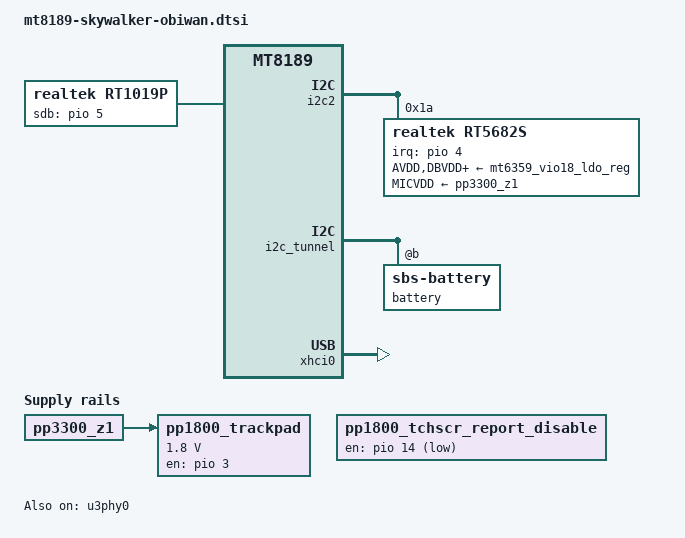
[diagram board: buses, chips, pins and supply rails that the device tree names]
// SPDX-License-Identifier: (GPL-2.0 OR MIT)
/*
 * Copyright (C) 2025 Google Inc.
 */
/dts-v1/;
#include "mt8189-skywalker.dtsi"

/ {
	pp1800_trackpad: regulator-pp1800-trackpad {
		compatible = "regulator-fixed";
		regulator-name = "pp1800_trackpad";
		regulator-min-microvolt = <1800000>;
		regulator-max-microvolt = <1800000>;
		enable-active-high;
		gpio = <&pio 3 GPIO_ACTIVE_HIGH>;
		pinctrl-names = "default";
		pinctrl-0 = <&trackpad_pwr_pins>;
		vin-supply = <&pp3300_z1>;
	};

	pp1800_tchscr_report_disable: regulator-pp1800-tchscr-report-disable {
		compatible = "regulator-fixed";
		regulator-name = "pp1800_tchscr_report_disable";
		pinctrl-names = "default";
		regulator-boot-on;
		pinctrl-0 = <&touch_pin_report>;
		gpio = <&pio 14 GPIO_ACTIVE_LOW>;
	};

	rt1019p: audio-codec {
		compatible = "realtek,rt1019p";
		label = "rt1019p";
		#sound-dai-cells = <0>;
		pinctrl-names = "default";
		pinctrl-0 = <&audio_spk_en_pins>;
		sdb-gpios = <&pio 5 GPIO_ACTIVE_HIGH>;
	};
};

&ap_i2c_tchpad  {
	/delete-node/ trackpad@15;

	trackpad_elan: trackpad@15 {
		compatible = "elan,ekth3000";
		reg = <0x15>;
		interrupts-extended = <&pio 125 IRQ_TYPE_LEVEL_LOW>;
		pinctrl-names = "default";
		pinctrl-0 = <&trackpad_pins>;
		wakeup-source;
		vcc-supply = <&pp1800_trackpad>;
		status = "fail-needs-probe";
	};

	trackpad_goodix: trackpad@2c {
		compatible = "hid-over-i2c";
		reg = <0x2c>;
		interrupts-extended = <&pio 125 IRQ_TYPE_LEVEL_LOW>;
		pinctrl-names = "default";
		pinctrl-0 = <&trackpad_pins>;
		wakeup-source;
		post-power-on-delay-ms = <10>;
		hid-descr-addr = <0x0020>;
		vdd-supply = <&pp3300_s3>;

		vddl-supply = <&pp1800_trackpad>;
		status = "fail-needs-probe";
	};

	trackpad_focal: trackpad@38 {
		compatible = "hid-over-i2c";
		reg = <0x38>;
		interrupts-extended = <&pio 125 IRQ_TYPE_LEVEL_LOW>;
		pinctrl-names = "default";
		pinctrl-0 = <&trackpad_pins>;
		wakeup-source;
		post-power-on-delay-ms = <40>;
		hid-descr-addr = <0x0020>;
		vdd-supply = <&pp3300_s3>;
		vddl-supply = <&pp1800_trackpad>;
		status = "fail-needs-probe";
	};
};

&ap_i2c_tchscr {

	touchscreen@41 {
		status = "disabled";
	};

	elantouchscreen: touchscreen@10 {
		compatible = "elan,ekth6a12nay";
		reg = <0x10>;

		interrupts-extended = <&pio 15 IRQ_TYPE_LEVEL_LOW>;

		pinctrl-names = "default";
		pinctrl-0 = <&touchscreen_pins>;
		reset-gpios = <&pio 126 GPIO_ACTIVE_LOW>;
		vcc33-supply = <&pp3300_tchscr_x>;
		vccio-supply = <&pp1800_tchscr_report_disable>;
		status = "fail-needs-probe";
	};

	touchscreen: touchscreen@24 {
		compatible = "parade,tc3408";
		reg = <0x24>;

		interrupts-extended = <&pio 15 IRQ_TYPE_LEVEL_LOW>;

		pinctrl-names = "default";
		pinctrl-0 = <&touchscreen_pins>;
		reset-gpios = <&pio 126 GPIO_ACTIVE_LOW>;
		vcc33-supply = <&pp3300_tchscr_x>;
		vccio-supply = <&pp1800_tchscr_report_disable>;
		status = "fail-needs-probe";
	};
};

&ap_sar_sensor {
	semtech,ph0-pin = <3 1 3>;
	semtech,ph1-pin = <3 3 3>;
	semtech,ph2-pin = <1 3 3>;
	semtech,ph3-pin = <3 3 3>;
	semtech,ph01-resolution = <1024>;
	semtech,ph23-resolution = <1024>;
	semtech,input-analog-gain = <3>;
	semtech,cs-idle-sleep = "gnd";
};

&backlight {
	post-pwm-on-delay-ms = <1>;
};

&dp_tx {
	phy-by-link-rate;
	phy-params = <0x221a1612 0x2425201a 0x00003028 0x0e080400 0x020b0600 0x00000008>;
	phy-params-hbr2 = <0x20181410 0x22241e18 0x00003028 0x10080400 0x020c0600 0x00000008>;
};

&edp_tx {
	swing-level = <3>;
};

&i2c2 {
	/delete-node/ audio-codec@1a;

	rt5682s: audio-codec@1a {
		compatible = "realtek,rt5682s";
		reg = <0x1a>;
		interrupts-extended = <&pio 4 IRQ_TYPE_EDGE_BOTH>;
		pinctrl-names = "default";
		pinctrl-0 = <&audio_codec_pins>;
		#sound-dai-cells = <0>;

		AVDD-supply = <&mt6359_vio18_ldo_reg>;
		DBVDD-supply = <&mt6359_vio18_ldo_reg>;
		LDO1-IN-supply = <&mt6359_vio18_ldo_reg>;
		MICVDD-supply = <&pp3300_z1>;
		realtek,jd-src = <1>;
		status = "okay";
	};
};

&i2c_tunnel {
	battery: sbs-battery@b {
		sbs,i2c-retry-count = <2>;
		sbs,poll-retry-count = <10>;
	};
};

&keyboard_controller {
	keypad,num-columns = <18>;

	function-row-physmap = <
		MATRIX_KEY(0x00, 0x02, 0)		/* T1 */
		MATRIX_KEY(0x03, 0x02, 0)		/* T2 */
		MATRIX_KEY(0x02, 0x02, 0)		/* T3 */
		MATRIX_KEY(0x01, 0x02, 0)		/* T4 */
		MATRIX_KEY(0x04, 0x04, 0)		/* T5 */
		MATRIX_KEY(0x02, 0x04, 0)		/* T6 */
		MATRIX_KEY(0x01, 0x04, 0)		/* T7 */
		MATRIX_KEY(0x02, 0x0b, 0)		/* T8 */
		MATRIX_KEY(0x01, 0x09, 0)		/* T9 */
		MATRIX_KEY(0x00, 0x04, 0)		/* T10 */
		MATRIX_KEY(0x00, 0x01, 0)		/* T11 */
		MATRIX_KEY(0x01, 0x05, 0)		/* T12 */
		MATRIX_KEY(0x03, 0x05, 0)		/* T13 */
		MATRIX_KEY(0x00, 0x0b, 0)		/* T14 */
	>;

	linux,keymap = <
		CROS_TOP_ROW_KEYMAP_V30
		CROS_MAIN_KEYMAP_V30

		MATRIX_KEY(0x00, 0x02, KEY_BACK)		/* T1 */
		MATRIX_KEY(0x03, 0x02, KEY_REFRESH)		/* T2 */
		MATRIX_KEY(0x02, 0x02, KEY_ZOOM)		/* T3 */
		MATRIX_KEY(0x01, 0x02, KEY_SCALE)		/* T4 */
		MATRIX_KEY(0x04, 0x04, KEY_SYSRQ)		/* T5 */
		MATRIX_KEY(0x02, 0x04, KEY_BRIGHTNESSDOWN)	/* T6 */
		MATRIX_KEY(0x01, 0x04, KEY_BRIGHTNESSUP)	/* T7 */
		MATRIX_KEY(0x02, 0x0b, KEY_KBDILLUMTOGGLE)	/* T8 */
		MATRIX_KEY(0x01, 0x09, KEY_MICMUTE)		/* T9 */
		MATRIX_KEY(0x00, 0x04, KEY_MUTE)		/* T10 */
		MATRIX_KEY(0x00, 0x01, KEY_VOLUMEDOWN)		/* T11 */
		MATRIX_KEY(0x01, 0x05, KEY_VOLUMEUP)		/* T12 */
		MATRIX_KEY(0x03, 0x05, KEY_ACCESSIBILITY)	/* T13 */
		MATRIX_KEY(0x00, 0x0b, KEY_DICTATE)		/* T14 */
	>;
};

&pio{
	/* 182 lines */
	gpio-line-names =
		"IMU_INT_SCP_L",		/* 0 */
		"LID_ACCEL_INT_SCP_L",
		"ESIM_ERASE",
		"PP1800_TCHPAD_EN",
		"HP_INT_ODL",
		"EN_SPKR",
		"RST_SPKR_L",
		"USB3_HUB_RST_L",
		"SPKR_INT_ODL",
		"SAR_INT_ODL",
		"WWAN_RESET_L",			/* 10 */
		"PEN_EJECT_OD",
		"TP",
		"EDP_BL_EN_1V8",
		"TCHSCR_REPORT_DISABLE",
		"TCHSCR_INT_1V8_ODL",
		"AP_FLASH_WP_L",
		"EC_AP_DPOC_EN_ODL",
		"",
		"",
		"",				/* 20 */
		"",
		"",
		"",
		"",
		"EN_PP3300_EDP_X",
		"",
		"EC_AP_DP_HPD_L",
		"EDP_HPD_1V8",
		"BL_PWM_1V8",
		"CODEC_PWR_SOC_EN",		/* 30 */
		"UART_AP_TX_GSC_DBG_RX",
		"UART_GSC_DBG_TX_AP_RX",
		"AP_UART1_TXD",
		"AP_UART1_RXD",
		"AP_UART2_TXD",
		"AP_UART2_RXD",
		"AP_UART3_TXD",
		"AP_UART3_RXD",
		"AP_JTAG_TMS",
		"AP_JTAG_TCK",			/* 40 */
		"AP_JTAG_TDI",
		"AP_JTAG_TDO",
		"AP_JTAG_TRST_L",
		"AP_KPCOL0",
		"TP",
		"TP",
		"TP",
		"PCIE_WLAN_WAKE_OBFF_1V8_ODL",
		"PCIE_WLAN_RST_1V8_L",
		"PCIE_WLAN_CLKREQ_1V8_ODL",	/* 50 */
		"SCP_I2C_SENSOR_SCL_1V8",
		"SCP_I2C_SENSOR_SDA_1V8",
		"TP",
		"TP",
		"AP_I2C_AUD_SCL_1V8",
		"AP_I2C_AUD_SDA_1V8",
		"AP_I2C_TPM_SCL_1V8",
		"AP_I2C_TPM_SDA_1V8",
		"AP_I2C_TCHSCR_SCL_1V8",
		"AP_I2C_TCHSCR_SDA_1V8",	/* 60 */
		"AP_I2C_SAR_SCL_1V8",
		"AP_I2C_SAR_SDA_1V8",
		"AP_I2C_HDMI_SCL_1V8",
		"AP_I2C_HDMI_SDA_1V8",
		"AP_I2C_TCHPAD_SCL_1V8",
		"AP_I2C_TCHPAD_SDA_1V8",
		"TP",
		"TP",
		"SPI_AP_CS_EC_L",
		"SPI_AP_CLK_EC",		/* 70 */
		"SPI_AP_DO_EC_DI",
		"SPI_AP_DI_EC_DO",
		"TP",
		"TP",
		"TP",
		"TP",
		"",
		"",
		"",
		"",		/* 80 */
		"",
		"",
		"",
		"",
		"",
		"",
		"",
		"PWRAP_SPI_CS_L",
		"PWRAP_SPI_CK",
		"PWRAP_SPI_MOSI",		/* 90 */
		"PWRAP_SPI_MISO",
		"SRCLKENA0",
		"SRCLKENA1",
		"SCP_VREQ_VAO",
		"AP_RTC_CLK32K",
		"AP_PMIC_WDTRST_L",
		"AUD_CLK_MOSI (Strap)",
		"AUD_SYNC_MOSI (Strap)",
		"AUD_DAT_MOSI0 (Strap)",
		"AUD_DAT_MOSI1 (Strap)",	/* 100 */
		"AUD_DAT_MISO0 (Strap)",
		"AUD_DAT_MISO1 (Strap)",
		"TP",
		"TP",
		"TP",
		"I2S_HP_DI",
		"I2S_HP_MCK",
		"I2S_HP_BCK",
		"I2S_HP_LRCK",
		"I2S_HP_DO",			/* 110 */
		"I2S_SPKR_MCK",
		"I2S_SPKR_BCK",
		"I2S_SPKR_LRCK",
		"I2S_SPKR_DO",
		"PCM_HDMI_CLK",
		"PCM_HDMI_SYNC",
		"TP",
		"PCM_HDMI_DO",
		"DMIC0_CLK",
		"DMIC0_DATA",			/* 120 */
		"EN_PP3300_WWAN_X",
		"DMIC1_CLK",
		"DMIC1_DATA",
		"WWAN_SAR_DETECT_L",
		"TCHPAD_INT_ODL",
		"TCHSCR_RST_1V8_L",
		"AP_HDMI_RST_ODL",
		"HDMI_AP_INT_ODL",
		"TP",
		"I2S_SPKR_DI",			/* 130 */
		"AP_XHCI_INIT_DONE",
		"EC_AP_INT_ODL",
		"TP",
		"TP",
		"EN_HDMI_PWR",
		"",
		"AP_EC_WARM_RST_REQ",
		"GSC_AP_INT_ODL",
		"HDMI_HPD_1V8_ODL",
		"AP_SUSPEND_L ",		/* 140 */
		"EC_AP_RSVD0_ODL",
		"EC_AP_RSVD1_ODL",
		"MT6319B_INT",
		"MT6319C_INT",
		"BT_KILL_1V8_L",
		"WIFI_KILL_1V8_L",
		"WWAN_PWR_OFF_L",
		"WWAN_W_DISABLE_L",
		"",
		"SPI_AP_CLK_BIOS",		/* 150 */
		"SPI_AP_CS_BIOS_L",
		"SPI_AP_DO_BIOS_DI",
		"SPI_AP_DI_BIOS_DO",
		"TP",
		"TP",
		"",
		"",
		"",
		"",
		"",				/* 160 */
		"",
		"",
		"",
		"",
		"",
		"",
		"",
		"",
		"",
		"",			/* 170 */
		"",
		"",
		"",
		"",
		"",
		"",
		"",
		"",
		"",
		"SPMI_SCL",			/* 180 */
		"SPMI_SDA",
		"EMI_RESET_N";

	touch_pin_report: pin-report-pins {
		pins-touch-en {
			pinmux = <PINMUX_GPIO14__FUNC_GPIO14>;
			output-low;
		};
	};

	trackpad_pwr_pins: trackpad-pwr-pins {
		pins-pwr {
			pinmux = <PINMUX_GPIO3__FUNC_GPIO3>;
			output-low;
		};
	};
};

&pmic {
    /delete-node/ mt6359codec;
};

&sound {
	compatible = "mediatek,mt8189-rt5682s-sound";
	model = "mt8189_1019_rt5682s";
	status = "okay";

	audio-routing = "I2SOUT1", "ETDMOUT_SPK_PIN",
			"I2SOUT0", "ETDMIN_HP_PIN",
			"I2SOUT0", "ETDMOUT_HP_PIN",
			"I2SIN0", "ETDMIN_HP_PIN",
			"I2SIN0", "ETDMOUT_HP_PIN",
			"IN1P", "Headset Mic",
			"PCM 0 Playback", "ETDMOUT_HDMI_PIN",
			"AP DMIC Capture", "AP_DMIC0_PIN",
			"AP DMIC CH34 Capture", "AP_DMIC1_PIN";

	dai-link-0 {
		link-name = "I2SOUT1_BE";
		mediatek,clk-provider = "cpu";

		codec {
			sound-dai = <&rt1019p>;
		};
	};

	dai-link-1 {
		link-name = "I2SOUT0_BE";
		mediatek,clk-provider = "cpu";

		codec {
			sound-dai = <&rt5682s>;
		};
	};

	dai-link-2 {
		link-name = "I2SIN0_BE";
		mediatek,clk-provider = "cpu";

		codec {
			sound-dai = <&rt5682s>;
		};
	};

	dai-link-3 {
		link-name = "TDM_DPTX_BE";

		codec {
			sound-dai = <&dp_tx>;
		};
	};

	dai-link-4 {
		link-name = "PCM_0_BE";
		mediatek,clk-provider = "cpu";

		codec {
			sound-dai = <&hdmibrdg>;
		};
	};
};

&spi1 {
	status = "disabled";
};

&touchscreen_pins {
	/delete-node/ pins-touch-en;
};

&u3phy0 {
	status = "okay";
};

/* USB hub port 1 */
&usb_hub_dsp1_hs {
	remote-endpoint = <&usb_c0_hs>;
};

&usb_c0_hs {
	remote-endpoint = <&usb_hub_dsp1_hs>;
};

&usb_hub_dsp1_ss {
	remote-endpoint = <&usb_c0_ss>;
};

&usb_c0_ss {
	remote-endpoint = <&usb_hub_dsp1_ss>;
};

/* USB hub port 2 */
&usb_hub_dsp2_hs {
	remote-endpoint = <&usb_a1_hs>;
};

&usb_a1_hs {
	remote-endpoint = <&usb_hub_dsp2_hs>;
};

&usb_hub_dsp2_ss {
	remote-endpoint = <&usb_a1_ss>;
};

&usb_a1_ss {
	remote-endpoint = <&usb_hub_dsp2_ss>;
};

/* USB hub port 3 */
&usb_hub_dsp3_hs {
	remote-endpoint = <&usb_a0_hs>;
};

&usb_a0_hs {
	remote-endpoint = <&usb_hub_dsp3_hs>;
};

&usb_hub_dsp3_ss {
	remote-endpoint = <&usb_a0_ss>;
};

&usb_a0_ss {
	remote-endpoint = <&usb_hub_dsp3_ss>;
};

/* USB hub port 4 */
&usb_hub_dsp4_hs {
	remote-endpoint = <&usb_c1_hs>;
};

&usb_c1_hs {
	remote-endpoint = <&usb_hub_dsp4_hs>;
};

&usb_hub_dsp4_ss {
	remote-endpoint = <&usb_c1_ss>;
};

&usb_c1_ss {
	remote-endpoint = <&usb_hub_dsp4_ss>;
};

&xhci0 {
	status = "okay";
};
